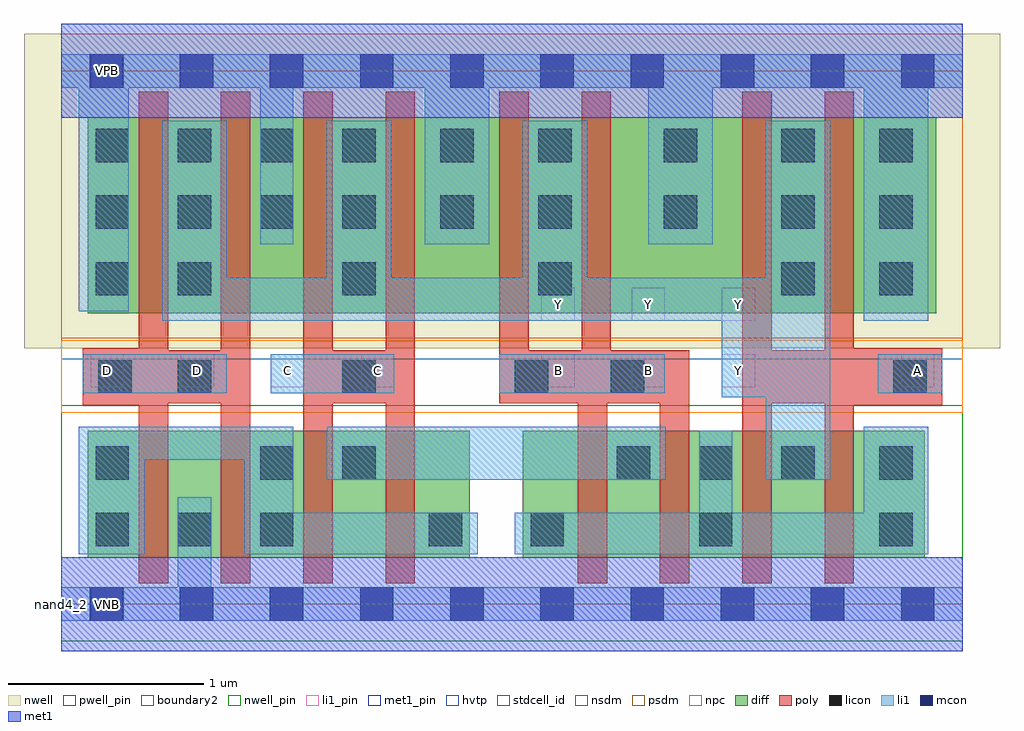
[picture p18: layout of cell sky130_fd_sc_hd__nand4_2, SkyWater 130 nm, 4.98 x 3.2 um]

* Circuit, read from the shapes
.subckt sky130_fd_sc_hd__nand4_2 A B C D VGND VNB VPB VPWR Y
XM1 VGND D n1 VNB sky130_fd_pr__nfet_01v8 w=0.65 l=0.15 m=2
XM2 n2 C n1 VNB sky130_fd_pr__nfet_01v8 w=0.65 l=0.15 m=2
XM3 n2 B n3 VNB sky130_fd_pr__nfet_01v8 w=0.65 l=0.15 m=2
XM4 Y A n3 VNB sky130_fd_pr__nfet_01v8 w=0.65 l=0.15 m=2
XM5 Y D VPWR VPB sky130_fd_pr__pfet_01v8_hvt w=1 l=0.15 m=2
XM6 Y C VPWR VPB sky130_fd_pr__pfet_01v8_hvt w=1 l=0.15 m=2
XM7 Y B VPWR VPB sky130_fd_pr__pfet_01v8_hvt w=1 l=0.15 m=2
XM8 Y A VPWR VPB sky130_fd_pr__pfet_01v8_hvt w=1 l=0.15 m=2
.ends

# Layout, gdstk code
import gdstk
lib = gdstk.Library(unit=1e-6, precision=1e-09)
def R(c, l, rs):  # rectangles x0, y0, x1, y1
    for r in rs: c.add(gdstk.rectangle(r[:2], r[2:], *l))
def A(c, l, x, y, w, h, nx, ny, dx, dy):  # array of equal rectangles
    R(c, l, [(x+i*dx, y+j*dy, x+i*dx+w, y+j*dy+h) for i in range(nx) for j in range(ny)])
def P(c, l, *ps):  # polygons
    for p in ps: c.add(gdstk.Polygon(p, *l))
nwell_pin = (64, 16)
nwell = (64, 20)
diff = (65, 20)
poly = (66, 20)
licon = (66, 44)
li1_pin = (67, 16)
li1 = (67, 20)
mcon = (67, 44)
met1_pin = (68, 16)
met1 = (68, 20)
hvtp = (78, 44)
stdcell_id = (81, 4)
nsdm = (93, 44)
psdm = (94, 20)
npc = (95, 20)
pwell_pin = (122, 16)
boundary2 = (236, 0)

sky130_fd_sc_hd__nand4_2 = lib.new_cell('sky130_fd_sc_hd__nand4_2')
R(sky130_fd_sc_hd__nand4_2, nwell_pin, [(0.15,2.635,0.32,2.805)])
R(sky130_fd_sc_hd__nand4_2, nwell, [(-0.19,1.305,4.79,2.91)])
R(sky130_fd_sc_hd__nand4_2, diff, [(0.135,0.235,2.085,0.885), (2.355,0.235,4.405,0.885), (0.135,1.485,4.465,2.485)])
R(sky130_fd_sc_hd__nand4_2, poly, [(0.11,1.015,0.395,1.025), (4.045,1.015,4.495,1.025), (0.11,1.295,0.395,1.305), (4.045,1.295,4.495,1.305)])
P(sky130_fd_sc_hd__nand4_2, poly, [(4.495,1.295),(4.045,1.295),(4.045,2.615),(3.895,2.615),(3.895,1.295),(3.625,1.295),(3.625,2.615),(3.475,2.615),(3.475,0.105),(3.625,0.105),(3.625,1.025),(3.895,1.025),(3.895,0.105),(4.045,0.105),(4.045,1.025),(4.495,1.025)],
  [(0.965,2.615),(0.815,2.615),(0.815,1.295),(0.545,1.295),(0.545,2.615),(0.395,2.615),(0.395,1.295),(0.11,1.295),(0.11,1.025),(0.395,1.025),(0.395,0.105),(0.545,0.105),(0.545,1.025),(0.815,1.025),(0.815,0.105),(0.965,0.105)],
  [(1.805,2.615),(1.655,2.615),(1.655,1.295),(1.385,1.295),(1.385,2.615),(1.235,2.615),(1.235,0.105),(1.385,0.105),(1.385,1.025),(1.655,1.025),(1.655,0.105),(1.805,0.105)],
  [(3.205,1.295),(2.805,1.295),(2.805,2.615),(2.655,2.615),(2.655,1.295),(2.385,1.295),(2.385,2.615),(2.235,2.615),(2.235,1.025),(2.635,1.025),(2.635,0.105),(2.785,0.105),(2.785,1.025),(3.055,1.025),(3.055,0.105),(3.205,0.105)])
A(sky130_fd_sc_hd__nand4_2, licon, 0.175, 0.295, 0.17, 0.17, 3, 1, 0.42, 0)
A(sky130_fd_sc_hd__nand4_2, licon, 2.835, 0.635, 0.17, 0.17, 3, 1, 0.42, 0)
A(sky130_fd_sc_hd__nand4_2, licon, 2.435, 1.575, 0.17, 0.17, 1, 3, 0, 0.34)
A(sky130_fd_sc_hd__nand4_2, licon, 3.675, 1.575, 0.17, 0.17, 1, 3, 0, 0.34)
A(sky130_fd_sc_hd__nand4_2, licon, 4.175, 1.575, 0.17, 0.17, 1, 3, 0, 0.34)
A(sky130_fd_sc_hd__nand4_2, licon, 0.175, 1.915, 0.17, 0.17, 4, 2, 0.42, 0.34)
R(sky130_fd_sc_hd__nand4_2, licon, [(1.875,0.295,2.045,0.465), (2.395,0.295,2.565,0.465), (3.255,0.295,3.425,0.465), (4.175,0.295,4.345,0.465), (0.175,0.635,0.345,0.805), (1.015,0.635,1.185,0.805), (1.435,0.635,1.605,0.805), (4.175,0.635,4.345,0.805), (0.19,1.075,0.36,1.245), (0.595,1.075,0.765,1.245), (1.435,1.075,1.605,1.245), (2.315,1.075,2.485,1.245), (2.805,1.075,2.975,1.245), (4.245,1.075,4.415,1.245), (0.175,1.575,0.345,1.745), (0.595,1.575,0.765,1.745), (1.435,1.575,1.605,1.745), (1.935,1.915,2.105,2.085), (3.075,1.915,3.245,2.085), (1.935,2.255,2.105,2.425), (3.075,2.255,3.245,2.425)])
A(sky130_fd_sc_hd__nand4_2, li1_pin, 0.15, 1.105, 0.17, 0.17, 4, 1, 0.46, 0)
A(sky130_fd_sc_hd__nand4_2, li1_pin, 2.45, 1.105, 0.17, 0.17, 3, 2, 0.46, 0.34)
R(sky130_fd_sc_hd__nand4_2, li1_pin, [(4.285,1.105,4.455,1.275)])
R(sky130_fd_sc_hd__nand4_2, li1, [(1.355,0.635,3.085,0.905), (0.11,1.075,0.845,1.275), (1.07,1.075,1.7,1.275), (2.235,1.075,3.08,1.275), (4.165,1.075,4.495,1.275)])
P(sky130_fd_sc_hd__nand4_2, li1, [(4.6,0.085),(0.765,0.085),(0.765,0.545),(0.595,0.545),(0.595,0.085),(0,0.085),(0,-0.085),(4.6,-0.085)],
  [(4.6,2.805),(0,2.805),(0,2.635),(0.09,2.635),(0.09,1.495),(0.345,1.495),(0.345,2.635),(1.015,2.635),(1.015,1.835),(1.185,1.835),(1.185,2.635),(1.855,2.635),(1.855,1.835),(2.185,1.835),(2.185,2.635),(2.995,2.635),(2.995,1.835),(3.325,1.835),(3.325,2.635),(4.095,2.635),(4.095,1.445),(4.425,1.445),(4.425,2.635),(4.6,2.635)],
  [(4.425,0.905),(4.095,0.905),(4.095,0.465),(3.425,0.465),(3.425,0.885),(3.255,0.885),(3.255,0.465),(2.315,0.465),(2.315,0.255),(4.425,0.255)],
  [(3.925,2.465),(3.595,2.465),(3.595,1.665),(2.685,1.665),(2.685,2.465),(2.355,2.465),(2.355,1.665),(1.685,1.665),(1.685,2.465),(1.355,2.465),(1.355,1.665),(0.845,1.665),(0.845,2.465),(0.515,2.465),(0.515,1.445),(3.37,1.445),(3.37,1.055),(3.595,1.055),(3.595,0.635),(3.925,0.635)],
  [(2.125,0.465),(1.185,0.465),(1.185,0.905),(0.09,0.905),(0.09,0.255),(0.425,0.255),(0.425,0.735),(0.935,0.735),(0.935,0.255),(2.125,0.255)])
A(sky130_fd_sc_hd__nand4_2, mcon, 0.145, -0.085, 0.17, 0.17, 10, 2, 0.46, 2.72)
R(sky130_fd_sc_hd__nand4_2, met1_pin, [(0.15,-0.085,0.32,0.085), (0.15,2.635,0.32,2.805)])
R(sky130_fd_sc_hd__nand4_2, hvtp, [(0,1.25,4.6,2.72)])
R(sky130_fd_sc_hd__nand4_2, stdcell_id, [(0,0,4.6,2.72)])
R(sky130_fd_sc_hd__nand4_2, nsdm, [(0,-0.19,4.6,1.015)])
R(sky130_fd_sc_hd__nand4_2, psdm, [(0,1.355,4.6,2.91)])
R(sky130_fd_sc_hd__nand4_2, npc, [(0,0.975,4.6,1.345)])
R(sky130_fd_sc_hd__nand4_2, pwell_pin, [(0.15,-0.085,0.32,0.085)])
R(sky130_fd_sc_hd__nand4_2, boundary2, [(0,0,4.6,2.72)])
sky130_fd_sc_hd__nand4_2.add(gdstk.FlexPath([(0,2.72),(4.6,2.72)], 0.48, ends="flush", simple_path=True, layer=68, datatype=20))  # met1
sky130_fd_sc_hd__nand4_2.add(gdstk.FlexPath([(0,0),(4.6,0)], 0.48, ends="flush", simple_path=True, layer=68, datatype=20))  # met1
sky130_fd_sc_hd__nand4_2.add(gdstk.Label('B', (2.995,1.19), layer=67, texttype=5))
sky130_fd_sc_hd__nand4_2.add(gdstk.Label('B', (2.535,1.19), layer=67, texttype=5))
sky130_fd_sc_hd__nand4_2.add(gdstk.Label('A', (4.37,1.19), layer=67, texttype=5))
sky130_fd_sc_hd__nand4_2.add(gdstk.Label('Y', (2.535,1.53), layer=67, texttype=5))
sky130_fd_sc_hd__nand4_2.add(gdstk.Label('Y', (2.995,1.53), layer=67, texttype=5))
sky130_fd_sc_hd__nand4_2.add(gdstk.Label('Y', (3.455,1.19), layer=67, texttype=5))
sky130_fd_sc_hd__nand4_2.add(gdstk.Label('Y', (3.455,1.53), layer=67, texttype=5))
sky130_fd_sc_hd__nand4_2.add(gdstk.Label('D', (0.695,1.19), layer=67, texttype=5))
sky130_fd_sc_hd__nand4_2.add(gdstk.Label('D', (0.235,1.19), layer=67, texttype=5))
sky130_fd_sc_hd__nand4_2.add(gdstk.Label('C', (1.615,1.19), layer=67, texttype=5))
sky130_fd_sc_hd__nand4_2.add(gdstk.Label('C', (1.155,1.19), layer=67, texttype=5))
sky130_fd_sc_hd__nand4_2.add(gdstk.Label('VNB', (0.235,0), layer=64, texttype=59))
sky130_fd_sc_hd__nand4_2.add(gdstk.Label('VPB', (0.235,2.72), layer=64, texttype=5))
sky130_fd_sc_hd__nand4_2.add(gdstk.Label('VGND', (0.235,0), layer=68, texttype=5))
sky130_fd_sc_hd__nand4_2.add(gdstk.Label('VPWR', (0.235,2.72), layer=68, texttype=5))
sky130_fd_sc_hd__nand4_2.add(gdstk.Label('nand4_2', (0,0), layer=83, texttype=44))

lib.write_gds('sky130_fd_sc_hd__nand4_2.gds')
